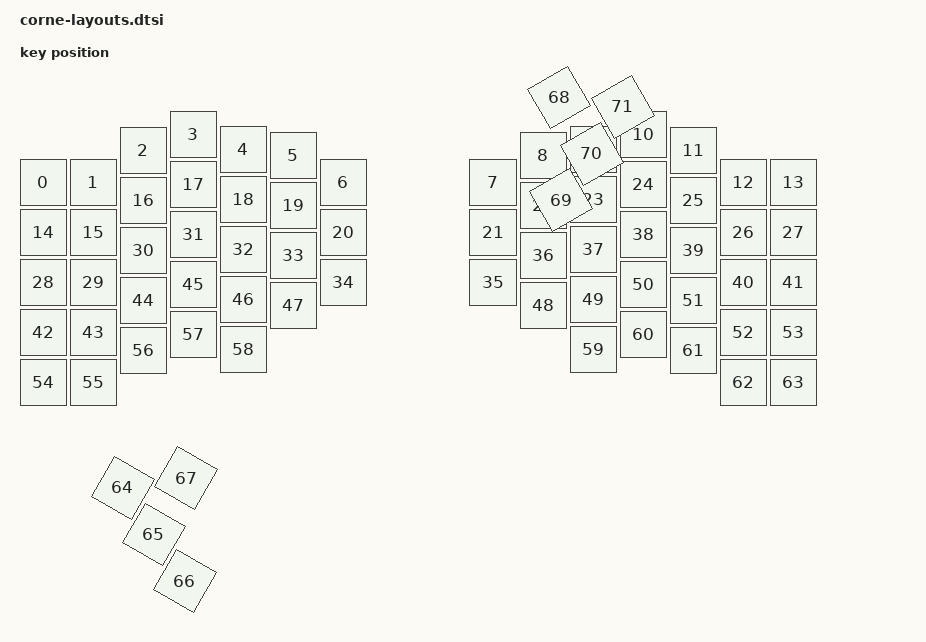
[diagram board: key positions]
#include <physical_layouts.dtsi>

/ {
    physical_layout0: physical_layout_0 {
        compatible = "zmk,physical-layout";
        display-name = "Default";

        kscan = <&kscan0>;
        transform = <&default_transform>;

        keys  //                     w   h    x    y     rot    rx    ry
            = 
  <&key_physical_attrs 100 100    0   95       0     0     0>
, <&key_physical_attrs 100 100  100   95       0     0     0>
, <&key_physical_attrs 100 100  200   32       0     0     0>
, <&key_physical_attrs 100 100  300    0       0     0     0>
, <&key_physical_attrs 100 100  400   29       0     0     0>
, <&key_physical_attrs 100 100  500   42       0     0     0>
, <&key_physical_attrs 100 100  600   95       0     0     0>
, <&key_physical_attrs 100 100  900   95       0     0     0>
, <&key_physical_attrs 100 100 1000   42       0     0     0>
, <&key_physical_attrs 100 100 1100   29       0     0     0>
, <&key_physical_attrs 100 100 1200    0       0     0     0>
, <&key_physical_attrs 100 100 1300   32       0     0     0>
, <&key_physical_attrs 100 100 1400   95       0     0     0>
, <&key_physical_attrs 100 100 1500   95       0     0     0>


, <&key_physical_attrs 100 100    0  195       0     0     0>
, <&key_physical_attrs 100 100  100  195       0     0     0>
, <&key_physical_attrs 100 100  200  132       0     0     0>
, <&key_physical_attrs 100 100  300  100       0     0     0>
, <&key_physical_attrs 100 100  400  129       0     0     0>
, <&key_physical_attrs 100 100  500  142       0     0     0>
, <&key_physical_attrs 100 100  600  195       0     0     0>
, <&key_physical_attrs 100 100  900  195       0     0     0>
, <&key_physical_attrs 100 100 1000  142       0     0     0>
, <&key_physical_attrs 100 100 1100  129       0     0     0>
, <&key_physical_attrs 100 100 1200  100       0     0     0>
, <&key_physical_attrs 100 100 1300  132       0     0     0>
, <&key_physical_attrs 100 100 1400  195       0     0     0>
, <&key_physical_attrs 100 100 1500  195       0     0     0>


, <&key_physical_attrs 100 100    0  295       0     0     0>
, <&key_physical_attrs 100 100  100  295       0     0     0>
, <&key_physical_attrs 100 100  200  232       0     0     0>
, <&key_physical_attrs 100 100  300  200       0     0     0>
, <&key_physical_attrs 100 100  400  229       0     0     0>
, <&key_physical_attrs 100 100  500  242       0     0     0>
, <&key_physical_attrs 100 100  600  295       0     0     0>
, <&key_physical_attrs 100 100  900  295       0     0     0>
, <&key_physical_attrs 100 100 1000  242       0     0     0>
, <&key_physical_attrs 100 100 1100  229       0     0     0>
, <&key_physical_attrs 100 100 1200  200       0     0     0>
, <&key_physical_attrs 100 100 1300  232       0     0     0>
, <&key_physical_attrs 100 100 1400  295       0     0     0>
, <&key_physical_attrs 100 100 1500  295       0     0     0>


            , <&key_physical_attrs 100 100    0  395       0     0     0>
, <&key_physical_attrs 100 100  100  395       0     0     0>
, <&key_physical_attrs 100 100  200  332       0     0     0>
, <&key_physical_attrs 100 100  300  300       0     0     0>
, <&key_physical_attrs 100 100  400  329       0     0     0>
, <&key_physical_attrs 100 100  500  342       0     0     0>
, <&key_physical_attrs 100 100 1000  342       0     0     0>
, <&key_physical_attrs 100 100 1100  329       0     0     0>
, <&key_physical_attrs 100 100 1200  300       0     0     0>
, <&key_physical_attrs 100 100 1300  332       0     0     0>
, <&key_physical_attrs 100 100 1400  395       0     0     0>
, <&key_physical_attrs 100 100 1500  395       0     0     0>

, <&key_physical_attrs 100 100    0  495       0     0     0>
, <&key_physical_attrs 100 100  100  495       0     0     0>
, <&key_physical_attrs 100 100  200  432       0     0     0>
, <&key_physical_attrs 100 100  300  400       0     0     0>
, <&key_physical_attrs 100 100  400  429       0     0     0>
, <&key_physical_attrs 100 100 1100  429       0     0     0>
, <&key_physical_attrs 100 100 1200  400       0     0     0>
, <&key_physical_attrs 100 100 1300  432       0     0     0>
, <&key_physical_attrs 100 100 1400  495       0     0     0>
, <&key_physical_attrs 100 100 1500  495       0     0     0>



            , <&key_physical_attrs 100 100  510  500    3000     0     0>
            , <&key_physical_attrs 100 100  610  550    3000     0     0>
            , <&key_physical_attrs 100 100  710  600    3000     0     0>
            , <&key_physical_attrs 100 100  610  420    3000     0     0>
            
            , <&key_physical_attrs 100 100  900  470 (-3000)     0     0>
            , <&key_physical_attrs 100 100  800  650 (-3000)     0     0>
            , <&key_physical_attrs 100 100  900  600 (-3000)     0     0>
            , <&key_physical_attrs 100 100 1000  550 (-3000)     0     0>
            ;
    };
};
